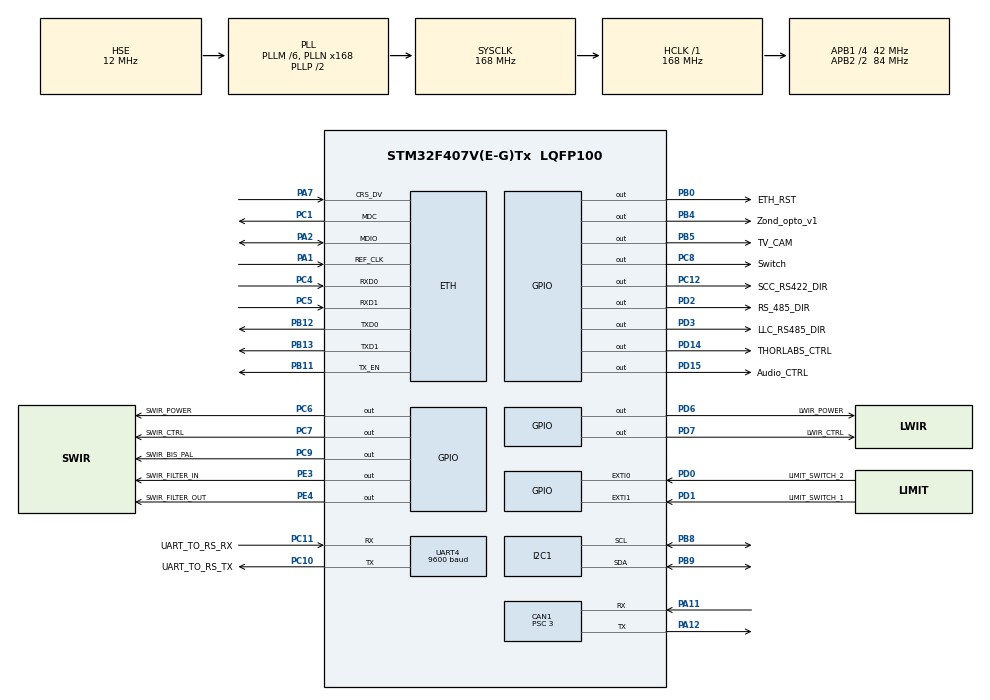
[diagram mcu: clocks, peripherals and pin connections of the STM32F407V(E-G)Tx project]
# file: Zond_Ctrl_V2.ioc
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NVIC.CAN1_RX1_IRQn=true\:5\:0\:false\:false\:true\:true\:true\:true
PH0-OSC_IN.Signal=RCC_OSC_IN
NVIC.I2C1_EV_IRQn=true\:5\:0\:false\:false\:true\:true\:true\:true
Dma.I2C1_TX.2.PeriphDataAlignment=DMA_PDATAALIGN_BYTE
PC12.Signal=GPIO_Output
PC6.GPIO_Label=SWIR_POWER
PC5.Mode=RMII
PB13.Signal=ETH_TXD1
PD6.GPIO_Label=LWIR_POWER
RCC.SYSCLKSource=RCC_SYSCLKSOURCE_PLLCLK
PB11.GPIO_Speed=GPIO_SPEED_FREQ_VERY_HIGH
LWIP.NETMASK_ADDRESS=255.255.255.000
Dma.UART4_TX.0.Direction=DMA_MEMORY_TO_PERIPH
Dma.UART4_TX.0.MemDataAlignment=DMA_MDATAALIGN_BYTE
NVIC.CAN1_TX_IRQn=true\:5\:0\:false\:false\:true\:true\:true\:true
RCC.APB2TimFreq_Value=168000000
PB6.Signal=USART1_TX
PC7.Signal=GPIO_Output
PD0.Signal=GPXTI0
PA1.GPIO_PuPd=GPIO_PULLUP
Dma.I2C1_TX.2.MemDataAlignment=DMA_MDATAALIGN_BYTE
NVIC.TIM8_TRG_COM_TIM14_IRQn=true\:0\:0\:false\:false\:true\:false\:false\:true
PB3.Mode=Trace_Asynchronous_SW
PC1.GPIO_PuPd=GPIO_PULLUP
PD1.GPIO_Label=LIMIT_SWITCH_1
PE4.GPIO_Label=SWIR_FILTER_OUT
VP_SYS_VS_tim14.Mode=TIM14
NVIC.I2C1_ER_IRQn=true\:5\:0\:false\:false\:true\:true\:true\:true
CAN1.Prescaler=3
Mcu.Package=LQFP100
PB9.Signal=I2C1_SDA
FREERTOS.configUSE_NEWLIB_REENTRANT=0
NVIC.TimeBase=TIM8_TRG_COM_TIM14_IRQn
NVIC.TimeBaseIP=TIM14
PC11.Mode=Asynchronous
PB8.GPIO_PuPdOD=GPIO_PULLUP
Dma.I2C1_TX.2.Instance=DMA1_Stream6
RCC.APB2CLKDivider=RCC_HCLK_DIV2
RCC.APB1TimFreq_Value=84000000
FREERTOS.configGENERATE_RUN_TIME_STATS=0
PB13.Mode=RMII
NVIC.DMA1_Stream6_IRQn=true\:5\:0\:false\:false\:true\:true\:false\:true
CAN1.CalculateTimeBit=999.99
Dma.I2C1_TX.2.FIFOMode=DMA_FIFOMODE_DISABLE
PD15.Signal=GPIO_Output
PC4.Mode=RMII
Dma.I2C1_TX.2.Direction=DMA_MEMORY_TO_PERIPH
LWIP.IP_ADDRESS=192.168.000.155
CAN1.CalculateTimeQuantum=71.42857142857143
NVIC.UART4_IRQn=true\:5\:0\:false\:false\:true\:true\:true\:true
FREERTOS.Tasks01=defaultTask,24,512,StartDefaultTask,Default,NULL,Dynamic,NULL,NULL
PD3.Signal=GPIO_Output
CAN1.CalculateBaudRate=1000000
PC6.Signal=GPIO_Output
PD7.Signal=GPIO_Output
PD1.Signal=GPXTI1
LWIP.LWIP_DHCP=0
RCC.APB1CLKDivider=RCC_HCLK_DIV4
UART4.VirtualMode=Asynchronous
PB11.Mode=RMII
PB13.GPIO_Speed=GPIO_SPEED_FREQ_VERY_HIGH
Dma.UART4_TX.0.PeriphInc=DMA_PINC_DISABLE
Dma.I2C1_RX.1.Instance=DMA1_Stream0
Dma.I2C1_RX.1.PeriphInc=DMA_PINC_DISABLE
Dma.UART4_TX.0.Priority=DMA_PRIORITY_LOW
Dma.I2C1_RX.1.FIFOMode=DMA_FIFOMODE_DISABLE
TIM13.Period=12817
PA7.GPIO_Speed=GPIO_SPEED_FREQ_VERY_HIGH
PB13.GPIO_PuPd=GPIO_PULLUP
VP_TIM13_VS_ClockSourceINT.Mode=Enable_Timer
PA1.Mode=RMII
PB4.GPIO_Label=Zond_opto_v1
TIM13.Prescaler=65535
Dma.I2C1_TX.2.MemInc=DMA_MINC_ENABLE
PC1.GPIO_Speed=GPIO_SPEED_FREQ_VERY_HIGH
PA13.Mode=Trace_Asynchronous_SW
PC7.GPIO_Label=SWIR_CTRL
PB5.Signal=GPIO_Output
ETH.MediaInterface=ETH_MEDIA_INTERFACE_RMII
Dma.UART4_TX.0.MemInc=DMA_MINC_ENABLE
PC12.GPIO_Label=SCC_RS422_DIR
PA11.Signal=CAN1_RX
ProjectManager.HeapSize=0x200
LWIP.Version=v2.1.2_Cube
NVIC.TIM8_UP_TIM13_IRQn=true\:5\:0\:false\:false\:true\:true\:true\:true
NVIC.PriorityGroup=NVIC_PRIORITYGROUP_4
PC5.GPIO_Speed=GPIO_SPEED_FREQ_VERY_HIGH
PB8.Mode=I2C
PE3.Signal=GPIO_Output
PD2.Signal=GPIO_Output
PB12.GPIO_PuPd=GPIO_PULLUP
PB0.Signal=GPIO_Output
PC1.Signal=ETH_MDC
PD2.GPIO_Label=RS_485_DIR
NVIC.CAN1_RX0_IRQn=true\:5\:0\:false\:false\:true\:true\:true\:true
PC1.Mode=RMII
Mcu.Family=STM32F4
PA2.GPIO_PuPd=GPIO_PULLUP
RCC.CortexFreq_Value=168000000
PC10.Signal=UART4_TX
Dma.I2C1_RX.1.MemInc=DMA_MINC_DISABLE
PA2.GPIO_Speed=GPIO_SPEED_FREQ_VERY_HIGH
PD0.GPIO_Label=LIMIT_SWITCH_2
PA11.Mode=CAN_Activate
PB0.GPIO_Label=ETH_RST
PB11.GPIO_PuPd=GPIO_PULLUP
PB11.Signal=ETH_TX_EN
NVIC.DMA1_Stream4_IRQn=true\:5\:0\:false\:false\:true\:true\:false\:true
TIM13.AutoReloadPreload=TIM_AUTORELOAD_PRELOAD_DISABLE
ProjectManager.StackSize=0x400
VP_FREERTOS_VS_CMSIS_V2.Mode=CMSIS_V2
VP_TIM7_VS_ClockSourceINT.Mode=Enable_Timer
PA12.Signal=CAN1_TX
PB0.PinState=GPIO_PIN_SET
FREERTOS.configUSE_STATS_FORMATTING_FUNCTIONS=0
UART4.BaudRate=9600
RCC.HCLKFreq_Value=168000000
Dma.I2C1_RX.1.Direction=DMA_PERIPH_TO_MEMORY
RCC.AHBFreq_Value=168000000
PH0-OSC_IN.Mode=HSE-External-Oscillator
NVIC.ETH_IRQn=true\:5\:0\:false\:false\:true\:true\:false\:true
RCC.HSE_VALUE=12000000
FREERTOS.configENABLE_BACKWARD_COMPATIBILITY=0
PC4.GPIO_Speed=GPIO_SPEED_FREQ_VERY_HIGH
PA14.Mode=Trace_Asynchronous_SW
PC11.GPIO_Label=UART_TO_RS_RX
PB7.Signal=USART1_RX
Dma.I2C1_RX.1.Mode=DMA_NORMAL
PE4.Signal=GPIO_Output
FREERTOS.configTOTAL_HEAP_SIZE=32768
PD7.GPIO_Label=LWIR_CTRL
PH1-OSC_OUT.Mode=HSE-External-Oscillator
PB12.Mode=RMII
PB5.GPIO_Label=TV_CAM
Dma.Request2=I2C1_TX
Dma.Request1=I2C1_RX
NVIC.DMA1_Stream0_IRQn=true\:5\:0\:false\:false\:true\:true\:false\:true
PC5.Signal=ETH_RXD1
PD3.GPIO_Label=LLC_RS485_DIR
PD6.Signal=GPIO_Output
Dma.Request0=UART4_TX
PB4.Signal=GPIO_Output
RCC.PLLSourceVirtual=RCC_PLLSOURCE_HSE
Dma.I2C1_TX.2.Mode=DMA_NORMAL
PD15.GPIO_Label=Audio_CTRL
PA7.Mode=RMII
PC10.GPIO_Label=UART_TO_RS_TX
PC9.GPIO_Label=SWIR_BIS_PAL
PC4.GPIO_PuPd=GPIO_PULLUP
Dma.UART4_TX.0.PeriphDataAlignment=DMA_PDATAALIGN_BYTE
PC11.Signal=UART4_RX
PC8.Signal=GPIO_Output
PC4.Signal=ETH_RXD0
PC10.Mode=Asynchronous
PC5.GPIO_PuPd=GPIO_PULLUP
ETH.PhyAddress=0
VP_LWIP_VS_Enabled.Mode=Enabled
LWIP.GATEWAY_ADDRESS=192.168.000.200
PC8.GPIO_Label=Switch
PA13.Signal=SYS_JTMS-SWDIO
FREERTOS.configUSE_IDLE_HOOK=1
CAN1.BS2=CAN_BS2_2TQ
CAN1.BS1=CAN_BS1_11TQ
ProjectManager.TargetToolchain=STM32CubeIDE
FREERTOS.configUSE_TRACE_FACILITY=1
Dma.I2C1_TX.2.Priority=DMA_PRIORITY_LOW
PB9.Mode=I2C
RCC.LSE_VALUE=32768
PA1.Signal=ETH_REF_CLK
PA7.GPIO_PuPd=GPIO_PULLUP
PB12.GPIO_Speed=GPIO_SPEED_FREQ_VERY_HIGH
TIM7.Prescaler=16000
board=custom
Dma.I2C1_RX.1.PeriphDataAlignment=DMA_PDATAALIGN_BYTE
RCC.VCOOutputFreq_Value=336000000
Dma.I2C1_RX.1.Priority=DMA_PRIORITY_LOW
Dma.UART4_TX.0.FIFOMode=DMA_FIFOMODE_DISABLE
RCC.APB2Freq_Value=84000000
PA1.GPIO_Speed=GPIO_SPEED_FREQ_VERY_HIGH
Dma.UART4_TX.0.Mode=DMA_NORMAL
PH1-OSC_OUT.Signal=RCC_OSC_OUT
Dma.I2C1_RX.1.MemDataAlignment=DMA_MDATAALIGN_BYTE
PD14.GPIO_Label=THORLABS_CTRL
Mcu.Name=STM32F407V(E-G)Tx
PA2.Signal=ETH_MDIO
PD14.Signal=GPIO_Output
RCC.48MHZClocksFreq_Value=84000000
PB3.Signal=SYS_JTDO-SWO
RCC.SYSCLKFreq_VALUE=168000000
PA12.Mode=CAN_Activate
PA14.Signal=SYS_JTCK-SWCLK
Dma.I2C1_TX.2.PeriphInc=DMA_PINC_DISABLE
PB9.GPIO_PuPdOD=GPIO_PULLUP
RCC.HSI_VALUE=16000000
RCC.PLLM=6
RCC.PLLN=168
PA2.Mode=RMII
PB8.Signal=I2C1_SCL
PE3.GPIO_Label=SWIR_FILTER_IN
PC9.Signal=GPIO_Output
RCC.APB1Freq_Value=42000000
PB12.Signal=ETH_TXD0
Dma.UART4_TX.0.Instance=DMA1_Stream4
PA7.Signal=ETH_CRS_DV

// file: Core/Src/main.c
/* USER CODE BEGIN Header */
/**
  ******************************************************************************
  * @file           : main.c
  * @brief          : Main program body
  ******************************************************************************
  * @attention
  *
  * <h2><center>&copy; Copyright (c) 2021 STMicroelectronics.
  * All rights reserved.</center></h2>
  *
  * This software component is licensed by ST under Ultimate Liberty license
  * SLA0044, the "License"; You may not use this file except in compliance with
  * the License. You may obtain a copy of the License at:
  *                             www.st.com/SLA0044
  *
  ******************************************************************************
  */
/* USER CODE END Header */
#include "main.h"
#include "cmsis_os.h"
#include "can.h"
#include "dma.h"
#include "i2c.h"
#include "lwip.h"
#include "tim.h"
#include "usart.h"
#include "gpio.h"

/* USER CODE BEGIN Includes */
#include <stdlib.h>
#include <stdbool.h>
#include <string.h>
#include "swirlwir.h"
#include "status_reg.h"
#include "ee24.h"
/* USER CODE END Includes */

void SystemClock_Config(void);
void MX_FREERTOS_Init(void);
/* USER CODE BEGIN PFP */
void PCB_Init();
void Switch_Init(void);
void TV_Block_Init(void);
void Sync_Angles(void);
/* USER CODE END PFP */

int main(void)
{

  /* MCU Configuration--------------------------------------------------------*/

  /* Reset of all peripherals, Initializes the Flash interface and the Systick. */

	HAL_Init();

  /* Configure the system clock */
  SystemClock_Config();

  /* Initialize all configured peripherals */
  MX_GPIO_Init();
  MX_DMA_Init();
  MX_CAN1_Init();
  MX_UART4_Init();
  MX_I2C1_Init();
  MX_TIM7_Init();
  MX_TIM13_Init();
  /* USER CODE BEGIN 2 */
  CAN_Init();
  HAL_CAN_Start(&hcan1);

  SWIR_Filter_init();
  Switch_Init();
  TV_Block_Init();
  Sync_Angles();

  PCB_Init();

  /* USER CODE END 2 */

  /* Init scheduler */
  osKernelInitialize();  /* Call init function for freertos objects (in freertos.c) */
  MX_FREERTOS_Init();
  /* Start scheduler */
  osKernelStart();

  /* We should never get here as control is now taken by the scheduler */
  /* Infinite loop */
  while (1)
  {

  }
}

void SystemClock_Config(void)
{
  RCC_OscInitTypeDef RCC_OscInitStruct = {0};
  RCC_ClkInitTypeDef RCC_ClkInitStruct = {0};

  /** Configure the main internal regulator output voltage
  */
  __HAL_RCC_PWR_CLK_ENABLE();
  __HAL_PWR_VOLTAGESCALING_CONFIG(PWR_REGULATOR_VOLTAGE_SCALE1);
  /** Initializes the RCC Oscillators according to the specified parameters
  * in the RCC_OscInitTypeDef structure.
  */
  RCC_OscInitStruct.OscillatorType = RCC_OSCILLATORTYPE_HSE;
  RCC_OscInitStruct.HSEState = RCC_HSE_ON;
  RCC_OscInitStruct.PLL.PLLState = RCC_PLL_ON;
  RCC_OscInitStruct.PLL.PLLSource = RCC_PLLSOURCE_HSE;
  RCC_OscInitStruct.PLL.PLLM = 6;
  RCC_OscInitStruct.PLL.PLLN = 168;
  RCC_OscInitStruct.PLL.PLLP = RCC_PLLP_DIV2;
  RCC_OscInitStruct.PLL.PLLQ = 4;
  if (HAL_RCC_OscConfig(&RCC_OscInitStruct) != HAL_OK)
  {
    Error_Handler();
  }
  /** Initializes the CPU, AHB and APB buses clocks
  */
  RCC_ClkInitStruct.ClockType = RCC_CLOCKTYPE_HCLK|RCC_CLOCKTYPE_SYSCLK
                              |RCC_CLOCKTYPE_PCLK1|RCC_CLOCKTYPE_PCLK2;
  RCC_ClkInitStruct.SYSCLKSource = RCC_SYSCLKSOURCE_PLLCLK;
  RCC_ClkInitStruct.AHBCLKDivider = RCC_SYSCLK_DIV1;
  RCC_ClkInitStruct.APB1CLKDivider = RCC_HCLK_DIV4;
  RCC_ClkInitStruct.APB2CLKDivider = RCC_HCLK_DIV2;

  if (HAL_RCC_ClockConfig(&RCC_ClkInitStruct, FLASH_LATENCY_5) != HAL_OK)
  {
    Error_Handler();
  }
}

/* USER CODE BEGIN 4 */
void Switch_Init(){
	//todo do it in async way?
	  HAL_GPIO_WritePin(Switch_GPIO_Port, Switch_Pin, GPIO_PIN_SET);
	  HAL_Delay(5000);  //switch needs some time to initialize
}
void PCB_Init(){
  TV_Camera_On();
  LWIR_Camera_On();
  LWIR_Driver_On();
  SWIR_Driver_On();
  SWIR_Camera_On();
  SWIR_BIS_PAL_On();
}
void TV_Block_Init(){
	//todo: камеру в дневной режим.
}
void Sync_Angles(void){
	uint8_t i2c_data[8];
	uint8_t can_data[8];
	ee24_read(0, i2c_data, 8, 100);
	can_data[0] = 1 << 5; // Angle X
	memcpy(&can_data[1], i2c_data, 4);
	HAL_CAN_AddTxMessage(&hcan1, &TxHeader, can_data, &TxMailbox);
	HAL_Delay(10);
	can_data[0] = 1 << 6; // Angle Y
	memcpy(&can_data[1], &i2c_data[4], 4);
	HAL_CAN_AddTxMessage(&hcan1, &TxHeader, can_data, &TxMailbox);
}
// int __io_putchar(int ch)
// {
// 	HAL_UART_Transmit(&huart1, (uint8_t*)&ch, 1, 0xffff);
// 	return ch;
// }
/* USER CODE END 4 */

 /**
  * @brief  Period elapsed callback in non blocking mode
  * @note   This function is called  when TIM14 interrupt took place, inside
  * HAL_TIM_IRQHandler(). It makes a direct call to HAL_IncTick() to increment
  * a global variable "uwTick" used as application time base.
  * @param  htim : TIM handle
  * @retval None
  */
void HAL_TIM_PeriodElapsedCallback(TIM_HandleTypeDef *htim)
{
  if (htim->Instance == TIM14) {
    HAL_IncTick();
  }
}

void Error_Handler(void)
{
  __disable_irq();
  while (1)
  {
  }
}

/************************ (C) COPYRIGHT STMicroelectronics *****END OF FILE****/

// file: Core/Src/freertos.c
/* USER CODE BEGIN Header */
/**
  ******************************************************************************
  * File Name          : freertos.c
  * Description        : Code for freertos applications
  ******************************************************************************
  * @attention
  *
  * <h2><center>&copy; Copyright (c) 2021 STMicroelectronics.
  * All rights reserved.</center></h2>
  *
  * This software component is licensed by ST under Ultimate Liberty license
  * SLA0044, the "License"; You may not use this file except in compliance with
  * the License. You may obtain a copy of the License at:
  *                             www.st.com/SLA0044
  *
  ******************************************************************************
  */
/* USER CODE END Header */

#include <StepMotors_Task.h>
#include "FreeRTOS.h"
#include "task.h"
#include "main.h"
#include "cmsis_os.h"

/* USER CODE BEGIN Includes */
#include "TCPTask.h"
#include "freertosheader.h"
#include "can.h"

//#include "SWIR_Task.h"
//#include "LWIR_Task.h"
//#include "TV_Task.h"
#include "StepMotors_Task.h"
/* USER CODE END Includes */

/* USER CODE BEGIN Variables */

uint8_t TxData[7] = {0xFF, 0x01, 0x00, 0x5D, 0x00, 0x00, 0x00};

StaticTask_t TCP_Rx_Task_Buffer;
StackType_t TCP_Rx_Stack[2048];

/* USER CODE END Variables */
/* Definitions for defaultTask */
osThreadId_t defaultTaskHandle;
const osThreadAttr_t defaultTask_attributes = {
  .name = "defaultTask",
  .stack_size = 512 * 4,
  .priority = (osPriority_t) osPriorityNormal,
};

void StartDefaultTask(void *argument);

extern void MX_LWIP_Init(void);
void MX_FREERTOS_Init(void); /* (MISRA C 2004 rule 8.1) */

/* Hook prototypes */
void vApplicationIdleHook(void);

void MX_FREERTOS_Init(void) {

  /* USER CODE BEGIN RTOS_QUEUES */
	/* add queues, ... */
	/* Create a queue capable of containing 10 uint64_t values. */
	StepMotors_QueueHandle = xQueueCreateStatic(StepMotors_Queue_Length,
												StepMotors_Queue_ItemSize,
												StepMotors_QueueStorageArea,
												&StepMotors_Queue );
  /* USER CODE END RTOS_QUEUES */

  /* Create the thread(s) */
  /* creation of defaultTask */
  defaultTaskHandle = osThreadNew(StartDefaultTask, NULL, &defaultTask_attributes);

  /* USER CODE BEGIN RTOS_THREADS */
  StepMotors_TaskHandle = xTaskCreateStatic(StepMotors_Task, "Stepper Motors Task", StepMotors_StackDepth,
                                            (void*)NULL, osPriorityAboveNormal, StepMotors_Stack, &StepMotors_Task_Buffer );
  /* USER CODE END RTOS_THREADS */

}

void StartDefaultTask(void *argument)
{
  /* init code for LWIP */
  MX_LWIP_Init();
  /* USER CODE BEGIN StartDefaultTask */
  (void)argument;
  struct netconn* nc = netconn_new(NETCONN_TCP);

  netconn_bind(nc, IP_ADDR_ANY, 1300);

  netconn_listen(nc);

  struct netconn* in_nc = netconn_new(NETCONN_TCP);
  /* Infinite loop */
  for(;;)
  {
      netconn_accept(nc, &in_nc);
      xTaskCreateStatic(TCP_RxThread, "TCP Rx Task", 2048, (void*)in_nc, osPriorityNormal, TCP_Rx_Stack, &TCP_Rx_Task_Buffer );
  }
  /* USER CODE END StartDefaultTask */
}

/* USER CODE BEGIN Application */
void Head_Motors_STOP(void){	//TODO write data to i2c eeporm
	uint8_t x[] = {0x10, 0, 0, 0, 0, 0, 0, 0};
	HAL_CAN_AddTxMessage(&hcan1, &TxHeader, x, &TxMailbox);
}

/* USER CODE END Application */

/************************ (C) COPYRIGHT STMicroelectronics *****END OF FILE****/
